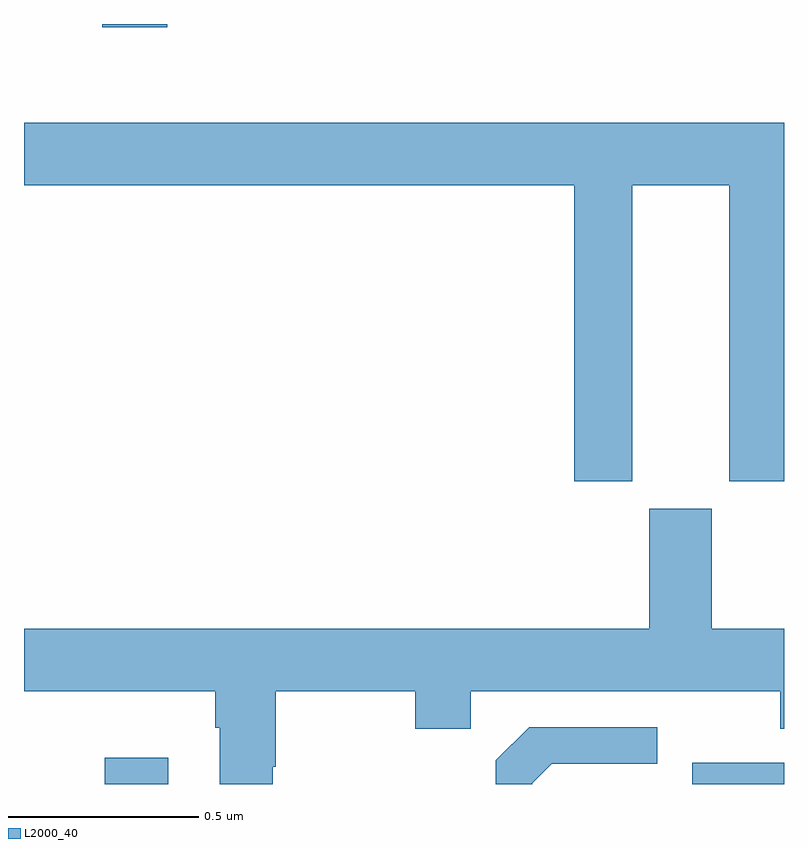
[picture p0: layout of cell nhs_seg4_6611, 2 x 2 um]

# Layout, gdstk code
import gdstk
lib = gdstk.Library(unit=1e-6, precision=1e-09)
def R(c, l, rs):  # rectangles x0, y0, x1, y1
    for r in rs: c.add(gdstk.rectangle(r[:2], r[2:], *l))
def P(c, l, *ps):  # polygons
    for p in ps: c.add(gdstk.Polygon(p, *l))
L2000_40 = (2000, 40)

nhs_seg4_6611 = lib.new_cell('nhs_seg4_6611')
R(nhs_seg4_6611, L2000_40, [(192.212,805.9,192.379,805.969), (193.758,805.9,194,805.956), (192.206,807.891,192.377,807.9)])
P(nhs_seg4_6611, L2000_40, [(193.6,807.476),(193.856,807.476),(193.856,806.697),(194,806.697),(194,807.64),(192,807.64),(192,807.476),(193.448,807.476),(193.448,806.697),(193.6,806.697)],
  [(192.655,805.945),(192.663,805.945),(192.663,806.144),(193.03,806.144),(193.03,806.045),(193.176,806.045),(193.176,806.144),(193.99,806.144),(193.99,806.045),(194,806.045),(194,806.308),(193.81,806.308),(193.81,806.625),(193.646,806.625),(193.646,806.308),(192,806.308),(192,806.144),(192.503,806.144),(192.503,806.048),(192.515,806.048),(192.515,805.9),(192.655,805.9)],
  [(193.338,805.902),(193.389,805.953),(193.666,805.953),(193.666,806.049),(193.329,806.049),(193.242,805.962),(193.242,805.9),(193.338,805.9)])

lib.write_gds('nhs_seg4_6611.gds')
